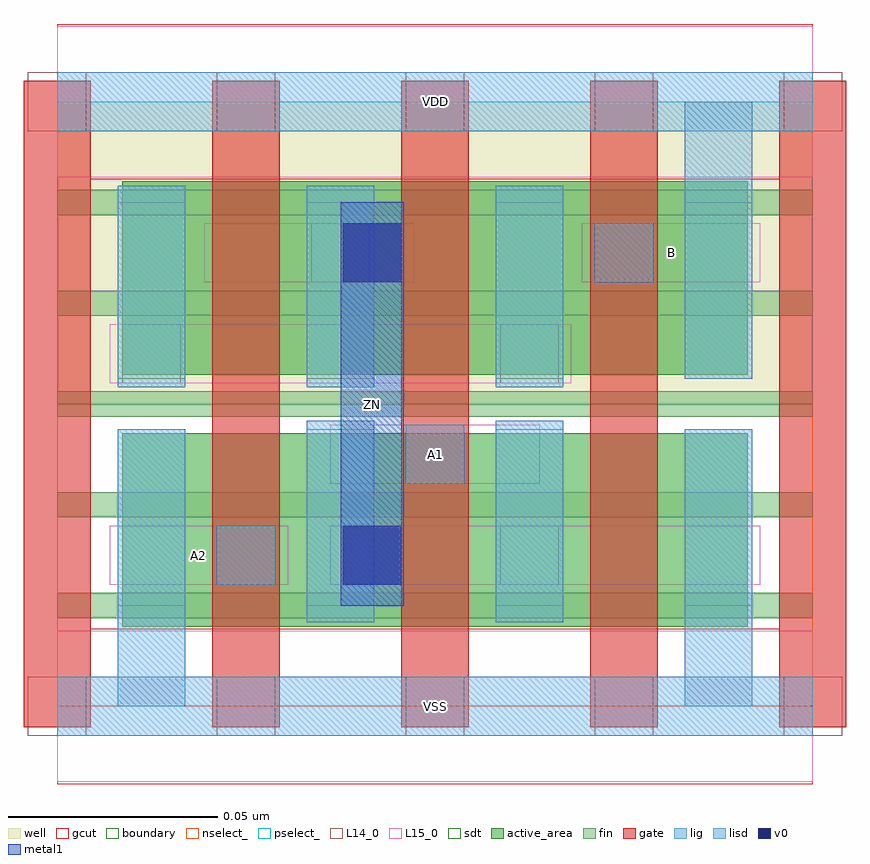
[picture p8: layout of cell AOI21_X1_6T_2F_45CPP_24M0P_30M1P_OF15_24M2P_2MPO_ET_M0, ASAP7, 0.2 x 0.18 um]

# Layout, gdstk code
import gdstk
lib = gdstk.Library(unit=1e-6, precision=2.5e-10)
def R(c, l, rs):  # rectangles x0, y0, x1, y1
    for r in rs: c.add(gdstk.rectangle(r[:2], r[2:], *l))
def A(c, l, x, y, w, h, nx, ny, dx, dy):  # array of equal rectangles
    R(c, l, [(x+i*dx, y+j*dy, x+i*dx+w, y+j*dy+h) for i in range(nx) for j in range(ny)])
well = (1, 0)
fin = (2, 0)
gate = (7, 0)
gcut = (10, 0)
active_area = (11, 0)
nselect_ = (12, 0)
pselect_ = (13, 0)
L14_0 = (14, 0)
L15_0 = (15, 0)
lig = (16, 0)
lisd = (17, 0)
v0 = (18, 0)
metal1 = (19, 0)
sdt = (88, 0)
boundary = (100, 0)

aoi21_x1_6t_2f_45cpp_24m = lib.new_cell('AOI21_X1_6T_2F_45CPP_24M0P_30M1P_OF15_24M2P_2MPO_ET_M0')
R(aoi21_x1_6t_2f_45cpp_24m, well, [(0,0.072,0.18,0.144)])
A(aoi21_x1_6t_2f_45cpp_24m, fin, 0, 0.021, 0.18, 0.006, 1, 5, 0, 0.024)
A(aoi21_x1_6t_2f_45cpp_24m, gate, -0.008, -0.005, 0.016, 0.154, 5, 1, 0.045, 0)
R(aoi21_x1_6t_2f_45cpp_24m, gcut, [(0,-0.0185,0.18,0.0185), (-0.008,-0.005,0.008,0.149), (0.172,-0.005,0.188,0.149), (0,0.1255,0.18,0.1625)])
A(aoi21_x1_6t_2f_45cpp_24m, active_area, 0.0155, 0.019, 0.059, 0.046, 3, 2, 0.045, 0.06)
R(aoi21_x1_6t_2f_45cpp_24m, nselect_, [(0,0,0.18,0.072)])
R(aoi21_x1_6t_2f_45cpp_24m, pselect_, [(0,0.072,0.18,0.144)])
A(aoi21_x1_6t_2f_45cpp_24m, L14_0, -0.007, -0.007, 0.014, 0.014, 5, 2, 0.045, 0.144)
R(aoi21_x1_6t_2f_45cpp_24m, L14_0, [(0.038,0.029,0.052,0.043), (0.1055,0.029,0.1195,0.043), (0.083,0.053,0.097,0.067), (0.0155,0.077,0.0295,0.091), (0.1055,0.077,0.1195,0.091), (0.0605,0.101,0.0745,0.115), (0.128,0.101,0.142,0.115)])
R(aoi21_x1_6t_2f_45cpp_24m, L15_0, [(0,-0.018,0.18,0.018), (0.0125,0.029,0.055,0.043), (0.065,0.029,0.1675,0.043), (0.065,0.053,0.115,0.067), (0.0125,0.077,0.1225,0.091), (0.035,0.101,0.085,0.115), (0.125,0.101,0.1675,0.115), (0,0.126,0.18,0.162)])
R(aoi21_x1_6t_2f_45cpp_24m, lig, [(0,-0.007,0.18,0.007), (0.038,0.029,0.052,0.043), (0.083,0.053,0.097,0.067), (0.128,0.101,0.142,0.115), (0,0.137,0.18,0.151)])
A(aoi21_x1_6t_2f_45cpp_24m, lisd, 0.0145, 0.076, 0.016, 0.048, 3, 1, 0.045, 0)
R(aoi21_x1_6t_2f_45cpp_24m, lisd, [(0.0145,0,0.0305,0.066), (0.1495,0,0.1655,0.066), (0.0595,0.02,0.0755,0.068), (0.1045,0.02,0.1205,0.068), (0.1495,0.078,0.1655,0.144)])
R(aoi21_x1_6t_2f_45cpp_24m, v0, [(0.068,0.029,0.082,0.043), (0.068,0.101,0.082,0.115)])
R(aoi21_x1_6t_2f_45cpp_24m, metal1, [(0.0675,0.024,0.0825,0.12)])
A(aoi21_x1_6t_2f_45cpp_24m, sdt, 0.0145, 0.024, 0.016, 0.042, 4, 2, 0.045, 0.054)
R(aoi21_x1_6t_2f_45cpp_24m, boundary, [(0,0,0.18,0.144)])
aoi21_x1_6t_2f_45cpp_24m.add(gdstk.Label('B', (0.1463,0.108), layer=15, texttype=251))
aoi21_x1_6t_2f_45cpp_24m.add(gdstk.Label('A2', (0.0338,0.036), layer=15, texttype=251))
aoi21_x1_6t_2f_45cpp_24m.add(gdstk.Label('A1', (0.09,0.06), layer=15, texttype=251))
aoi21_x1_6t_2f_45cpp_24m.add(gdstk.Label('VDD', (0.09,0.144), layer=15, texttype=251))
aoi21_x1_6t_2f_45cpp_24m.add(gdstk.Label('VSS', (0.09,0), layer=15, texttype=251))
aoi21_x1_6t_2f_45cpp_24m.add(gdstk.Label('VDD', (0.09,0.144), layer=1, texttype=251))
aoi21_x1_6t_2f_45cpp_24m.add(gdstk.Label('VSS', (0.09,0), layer=3, texttype=251))
aoi21_x1_6t_2f_45cpp_24m.add(gdstk.Label('ZN', (0.075,0.072), layer=19, texttype=251))

lib.write_gds('AOI21_X1_6T_2F_45CPP_24M0P_30M1P_OF15_24M2P_2MPO_ET_M0.gds')
